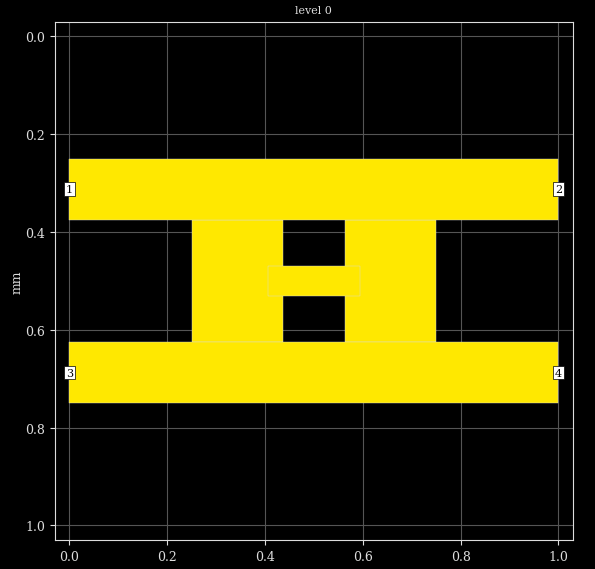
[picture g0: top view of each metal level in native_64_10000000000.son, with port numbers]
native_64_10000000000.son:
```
FTYP SONPROJ 19
DIM
ANG DEG
CAP PF
CON /OH
FREQ GHZ
IND NH
LNG MM
RES OH
END DIM
CONTROL
VARSWP
OPTIONS
SPEED 0
SUBSPLAM N 100
END CONTROL
GEO
TMET "PEC" 0 SUP 0 0 0 0
BMET "PEC" 0 SUP 0 0 0 0
BOX 1 1 1 128 128 100 0
.1 1 1 0 0 0 2 "Air"
.1 1 1 0 0 0 2 "Air"
POR1 BOX
POLY 3 1
3
1 50 0 0 0 0 0.3125
POR1 BOX
POLY 3 1
1
2 50 0 0 0 1 0.3125
POR1 BOX
POLY 4 1
3
3 50 0 0 0 0 0.6875
POR1 BOX
POLY 4 1
1
4 50 0 0 0 1 0.6875
NUM 5
0 5 -1 N 1 1 1 100 100 0 0 0 Y
0.25 0.375
0.4375 0.375
0.4375 0.625
0.25 0.625
0.25 0.375
END
0 5 -1 N 2 1 1 100 100 0 0 0 Y
0.5625 0.375
0.75 0.375
0.75 0.625
0.5625 0.625
0.5625 0.375
END
0 5 -1 N 3 1 1 100 100 0 0 0 Y
0.0 0.25
1.0 0.25
1.0 0.375
0.0 0.375
0.0 0.25
END
0 5 -1 N 4 1 1 100 100 0 0 0 Y
0.0 0.625
1.0 0.625
1.0 0.75
0.0 0.75
0.0 0.625
END
0 5 -1 N 5 1 1 100 100 0 0 0 Y
0.40625 0.46875
0.59375 0.46875
0.59375 0.53125
0.40625 0.53125
0.40625 0.46875
END
END GEO
VARSWP
ENABLED Y
FREQ Y AN SWEEP 10.0
END
END VARSWP
FILEOUT
TOUCH ND Y native_raw.s4p IC 15 S RI R 50
FOLDER .
END FILEOUT
```
